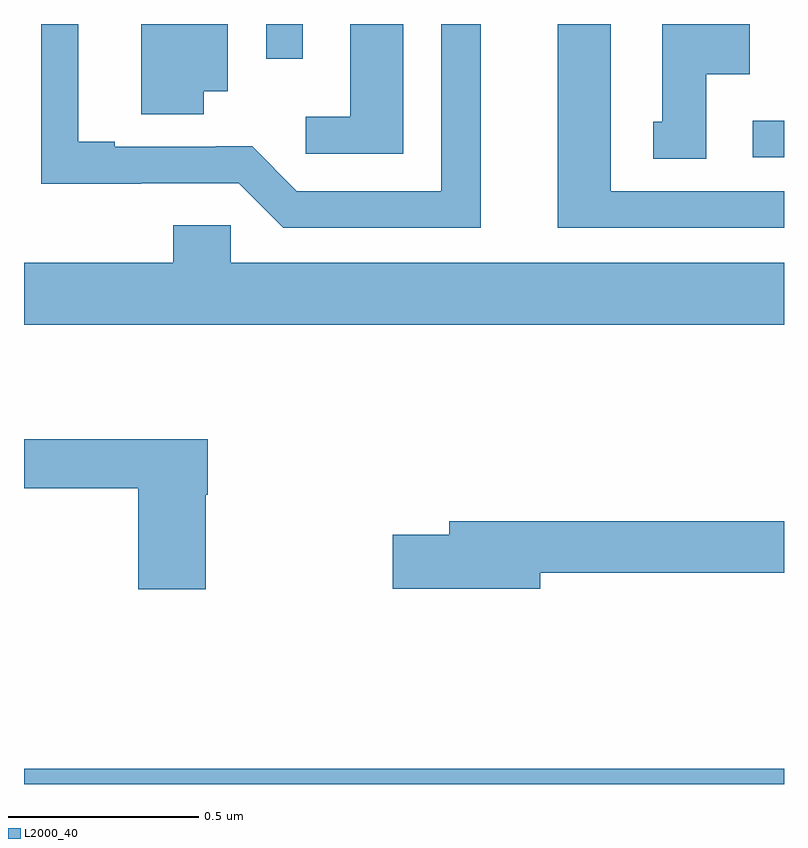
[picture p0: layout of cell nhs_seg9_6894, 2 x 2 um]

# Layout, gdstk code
import gdstk
lib = gdstk.Library(unit=1e-6, precision=1e-09)
def R(c, l, rs):  # rectangles x0, y0, x1, y1
    for r in rs: c.add(gdstk.rectangle(r[:2], r[2:], *l))
def P(c, l, *ps):  # polygons
    for p in ps: c.add(gdstk.Polygon(p, *l))
L2000_40 = (2000, 40)

nhs_seg9_6894 = lib.new_cell('nhs_seg9_6894')
R(nhs_seg9_6894, L2000_40, [(197,1240.5,199,1240.54), (198.918,1242.15,199,1242.246), (197.637,1242.408,197.733,1242.5)])
P(nhs_seg9_6894, L2000_40, [(198.796,1242.368),(198.91,1242.368),(198.91,1242.5),(198.68,1242.5),(198.68,1242.243),(198.656,1242.243),(198.656,1242.145),(198.796,1242.145)],
  [(199,1242.06),(198.544,1242.06),(198.544,1242.5),(198.404,1242.5),(198.404,1241.964),(199,1241.964)],
  [(198.202,1242.5),(198.098,1242.5),(198.098,1242.06),(197.718,1242.06),(197.6,1242.178),(197.504,1242.178),(197.504,1242.177),(197.239,1242.177),(197.239,1242.19),(197.143,1242.19),(197.143,1242.5),(197.046,1242.5),(197.046,1242.08),(197.309,1242.08),(197.309,1242.081),(197.565,1242.081),(197.682,1241.964),(198.202,1241.964)],
  [(197.473,1242.323),(197.536,1242.323),(197.536,1242.5),(197.309,1242.5),(197.309,1242.262),(197.473,1242.262)],
  [(197.998,1242.5),(197.858,1242.5),(197.858,1242.256),(197.742,1242.256),(197.742,1242.159),(197.998,1242.159)],
  [(199,1241.872),(197.544,1241.872),(197.544,1241.97),(197.393,1241.97),(197.393,1241.872),(197,1241.872),(197,1241.708),(199,1241.708)],
  [(197.478,1241.261),(197.483,1241.261),(197.483,1241.407),(197,1241.407),(197,1241.278),(197.3,1241.278),(197.3,1241.013),(197.478,1241.013)],
  [(198.358,1241.056),(199,1241.056),(199,1241.192),(198.119,1241.192),(198.119,1241.156),(197.97,1241.156),(197.97,1241.014),(198.358,1241.014)])

lib.write_gds('nhs_seg9_6894.gds')
